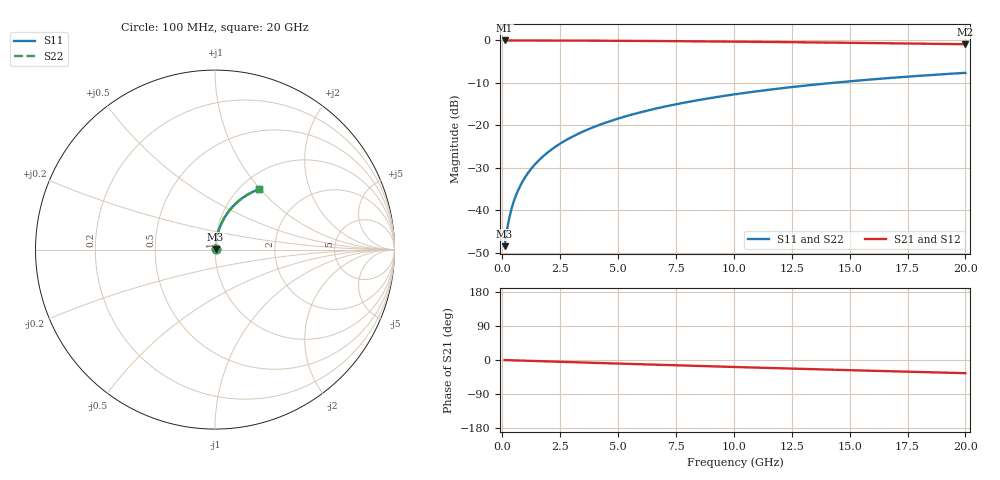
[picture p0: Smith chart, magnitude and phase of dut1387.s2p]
! Touchstone file exported from HFSS 2026.1.0
!  File:  C:/ffzhzh/LocalFiles/Ansys_Project_Files/temp_train_TMRDL_1387_1783166162_43440.aedt
!  Generated:  07:57:15 PM Jul  4, 2026
!  Design:  TMRDL
!  Project:  temp_train_TMRDL_1387_1783166162_43440
! Variables:
!  h_bsmrdl = 2um
!  h_ox = 20um
!  h_rdl = 5um
!  h_sub = 80um
!  h_tmrdl = 3.65um
!  h_tsv = 80um
!  h_via = 3um
!  l_bsmrdl = 300um
!  l_sub = 810.83um
!  l_tmrdl = 410.83um
!  m_sub = 200um
!  pitch = 58.37um
!  r_tsv = 6um
!  s_tmrdl = 10um
!  w_bsmrdl = 18um
!  w_sub = 500um
!  w_tmrdl = 15.02um
!  x_tsv_center1 = 418.34um
!  x_tsv_center2 = 736.34um
!  x_tsv_center3 = 1162.19um
!  x_tsv_center4 = 1480.19um
!  x_tsv_center5 = 1906.04um
!  x_tsv_center6 = 2224.04um
# GHz S MA R 50.000000
! Terminal data exported
! Port[1] = TM_RDL1_1_T1
! Port[2] = TM_RDL1_1_T2
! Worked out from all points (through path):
!   200 points, 100 MHz to 20 GHz, reference 50 ohm
!   highest |S21| = -0.02 dB at 100 MHz (marker M1); lowest = -0.9 dB at 20 GHz (marker M2)
!   group delay of S21, straight-line fit = 4.84 ps
!   lowest |S11| = -48.5 dB at 100 MHz (marker M3), VSWR 1.01, Z = 50.3 + j0.254 ohm
!   |S11| at or under -10 dB: start of sweep to 14.3 GHz
!   |S22| runs from -48.5 to -7.7 dB; largest |S21 - S12| = 5.3e-15
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0.1  0.003764 42.1  0.9972 -0.2  0.9972 -0.2  0.003764 42.1
! Gamma 0 0 0 0
! Port Impedance 50 0 50 0
0.2  0.00579 60.3  0.9971 -0.4  0.9971 -0.4  0.00579 60.3
0.3  0.008073 68.3  0.9971 -0.6  0.9971 -0.6  0.008073 68.3
0.4  0.01042 72.6  0.997 -0.8  0.997 -0.8  0.01042 72.6
0.5  0.01279 75.3  0.9969 -1.0  0.9969 -1.0  0.01279 75.3
0.6  0.01517 77.1  0.9968 -1.2  0.9968 -1.2  0.01517 77.1
0.8  0.01995 79.3  0.9966 -1.5  0.9966 -1.5  0.01995 79.3
1.1  0.02714 81.0  0.9964 -2.1  0.9964 -2.1  0.02714 81.0
1.5  0.03675 81.9  0.996 -2.9  0.996 -2.9  0.03675 81.9
1.8  0.04396 82.1  0.9956 -3.4  0.9956 -3.4  0.04396 82.1
2.1  0.05117 82.0  0.9952 -4.0  0.9952 -4.0  0.05117 82.0
2.7  0.06556 81.6  0.9941 -5.1  0.9941 -5.1  0.06556 81.6
3.5  0.08461 80.7  0.9924 -6.6  0.9924 -6.6  0.08461 80.7
4.2  0.1011 79.6  0.9906 -7.9  0.9906 -7.9  0.1011 79.6
5  0.1198 78.4  0.9881 -9.4  0.9881 -9.4  0.1198 78.4
5.9  0.1406 76.9  0.985 -11.1  0.985 -11.1  0.1406 76.9
6.8  0.161 75.3  0.9815 -12.7  0.9815 -12.7  0.161 75.3
8.3  0.1942 72.8  0.9748 -15.4  0.9748 -15.4  0.1942 72.8
10.1  0.2327 69.7  0.9657 -18.6  0.9657 -18.6  0.2327 69.7
13.4  0.2991 64.3  0.9463 -24.2  0.9463 -24.2  0.2992 64.3
16.7  0.3598 59.0  0.9244 -29.6  0.9244 -29.6  0.3598 59.0
20  0.4144 54.0  0.901 -34.8  0.901 -34.8  0.4144 54.0
